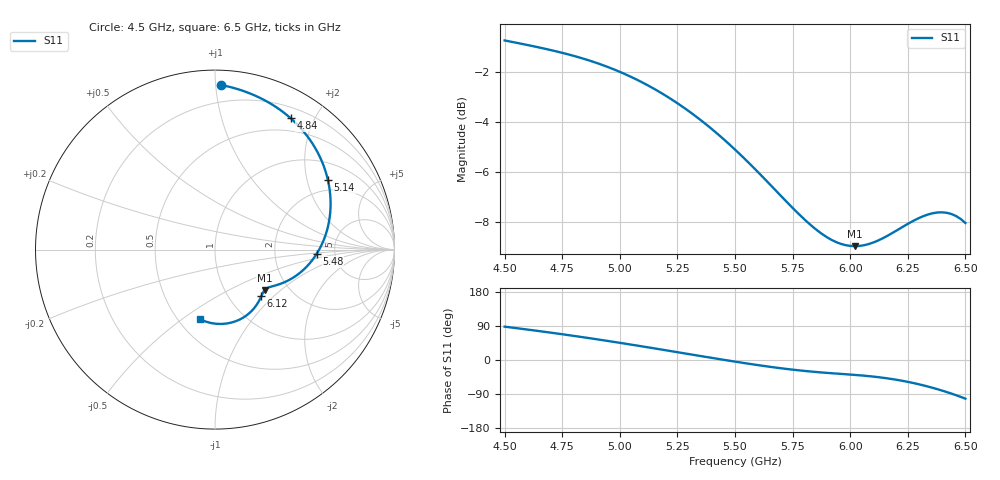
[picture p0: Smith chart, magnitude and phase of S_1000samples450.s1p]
! TOUCHSTONE file generated by CST MICROWAVE STUDIO
! Date and time: Fri Oct 28 05:17:36 2022
! Project name: L.cst
! Parameters = {Di=1.27; Epsilon_r=1.56; InnerDiameter=1.27; Length=2; Lf=10; Lg=60; OuterConductorThickness=0.2921; OuterDiameter=3.6; Wf=3; Wp=41.2; de=1.5; df=6.8; g=0.8; gx=0.5133; gy=3.82478; h=2.34; hf=1.524; px=8.55427; py=10.9584; w=9.7; wx=8.04097; wy=7.13365}
! Header version: 2018
! Port assignment regex: !\s*Touchstone port\s*([0-9]+)\s*=\s*(CST MWS port|CST DS port)\s*([0-9]+|Zmin|Zmax)\s*\(\"(.*)\"\)(\s*mode\s*([0-9]+))?.*
! Touchstone port assignment:
! Touchstone port 1 = CST MWS port 1 ("")
# GHz S DB R 50
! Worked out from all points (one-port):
!   101 points, 4.5 GHz to 6.5 GHz, reference 50 ohm
!   lowest |S11| = -8.9 dB at 6.02 GHz (marker M1), VSWR 2.11, Z = 75.8 - j39.3 ohm
!   |S11| at or under -10 dB: nowhere
!   S11 on the Smith chart (normalised r, x): 4.5 GHz: 0.09, +1.03; 4.84 GHz: 0.33, +1.68; 5.14 GHz: 1.58, +2.69; 5.48 GHz: 3.60, -0.25; 6.12 GHz: 1.40, -0.84; 6.5 GHz: 0.64, -0.59
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4.5  -0.74 88.0
4.58  -0.89 81.8
4.64  -1.00 77.1
4.76  -1.26 67.1
4.84  -1.47 60.1
4.92  -1.71 52.9
5  -2.00 45.3
5.08  -2.34 37.6
5.14  -2.63 31.7
5.2  -2.95 25.7
5.26  -3.31 19.6
5.36  -3.98 9.5
5.48  -4.92 -2.3
5.5  -5.10 -4.3
5.56  -5.63 -9.9
5.62  -6.18 -15.3
5.68  -6.76 -20.3
5.76  -7.51 -26.1
5.88  -8.48 -33.0
6  -8.94 -38.4
6.02  -8.95 -39.4
6.12  -8.73 -45.2
6.2  -8.33 -52.1
6.26  -8.01 -59.0
6.32  -7.74 -67.3
6.4  -7.60 -80.9
6.46  -7.75 -93.0
6.5  -8.02 -102.1
